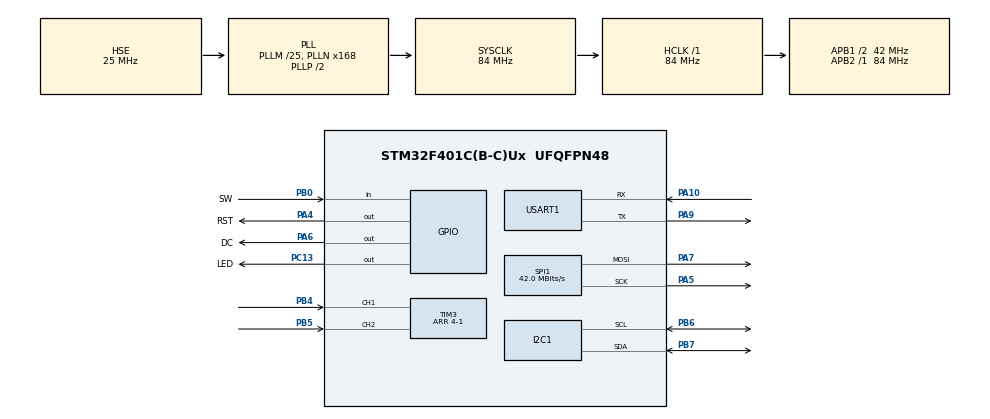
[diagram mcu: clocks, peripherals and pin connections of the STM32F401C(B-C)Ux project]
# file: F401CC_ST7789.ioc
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Mcu.Family=STM32F4
Mcu.Name=STM32F401C(B-C)Ux
Mcu.Package=UFQFPN48
NVIC.PriorityGroup=NVIC_PRIORITYGROUP_4
NVIC.TIM3_IRQn=true\:0\:0\:false\:false\:true\:true\:true\:true
PA10.Mode=Asynchronous
PA10.Signal=USART1_RX
PA4.GPIO_Label=RST
PA4.Signal=GPIO_Output
PA5.Mode=TX_Only_Simplex_Unidirect_Master
PA5.Signal=SPI1_SCK
PA6.GPIO_Label=DC
PA6.Signal=GPIO_Output
PA7.Mode=TX_Only_Simplex_Unidirect_Master
PA7.Signal=SPI1_MOSI
PA9.Mode=Asynchronous
PA9.Signal=USART1_TX
PB0.GPIO_Label=SW
PB0.GPIO_PuPd=GPIO_NOPULL
PB0.Signal=GPIO_Input
PB4.Signal=S_TIM3_CH1
PB5.Signal=S_TIM3_CH2
PB6.Mode=I2C
PB6.Signal=I2C1_SCL
PB7.Mode=I2C
PB7.Signal=I2C1_SDA
PC13-ANTI_TAMP.GPIO_Label=LED
PC13-ANTI_TAMP.PinState=GPIO_PIN_SET
PC13-ANTI_TAMP.Signal=GPIO_Output
PH0\ -\ OSC_IN.Mode=HSE-External-Oscillator
PH0\ -\ OSC_IN.Signal=RCC_OSC_IN
PH1\ -\ OSC_OUT.Mode=HSE-External-Oscillator
PH1\ -\ OSC_OUT.Signal=RCC_OSC_OUT
ProjectManager.HeapSize=0x200
ProjectManager.StackSize=0x400
ProjectManager.TargetToolchain=MDK-ARM V5.32
RCC.48MHZClocksFreq_Value=42000000
RCC.AHBFreq_Value=84000000
RCC.APB1CLKDivider=RCC_HCLK_DIV2
RCC.APB1Freq_Value=42000000
RCC.APB1TimFreq_Value=84000000
RCC.APB2Freq_Value=84000000
RCC.APB2TimFreq_Value=84000000
RCC.CortexFreq_Value=84000000
RCC.HCLKFreq_Value=84000000
RCC.HSE_VALUE=25000000
RCC.HSI_VALUE=16000000
RCC.LSE_VALUE=32768
RCC.PLLM=25
RCC.PLLN=168
RCC.PLLSourceVirtual=RCC_PLLSOURCE_HSE
RCC.SYSCLKFreq_VALUE=84000000
RCC.SYSCLKSource=RCC_SYSCLKSOURCE_PLLCLK
RCC.VCOOutputFreq_Value=168000000
SH.S_TIM3_CH1.0=TIM3_CH1,Encoder_Interface
SH.S_TIM3_CH2.0=TIM3_CH2,Encoder_Interface
SPI1.CLKPhase=SPI_PHASE_2EDGE
SPI1.CLKPolarity=SPI_POLARITY_HIGH
SPI1.CalculateBaudRate=42.0 MBits/s
SPI1.Direction=SPI_DIRECTION_2LINES
SPI1.Mode=SPI_MODE_MASTER
SPI1.VirtualType=VM_MASTER
TIM3.EncoderMode=TIM_ENCODERMODE_TI12
TIM3.IC1Filter=15
TIM3.IC1Polarity=TIM_ICPOLARITY_FALLING
TIM3.IC2Filter=15
TIM3.IC2Polarity=TIM_ICPOLARITY_FALLING
TIM3.Period=4-1
USART1.VirtualMode=VM_ASYNC
board=custom

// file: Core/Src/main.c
/* USER CODE BEGIN Header */
/**
  ******************************************************************************
  * @file           : main.c
  * @brief          : Main program body
  ******************************************************************************
  * @attention
  *
  * Copyright (c) 2023 STMicroelectronics.
  * All rights reserved.
  *
  * This software is licensed under terms that can be found in the LICENSE file
  * in the root directory of this software component.
  * If no LICENSE file comes with this software, it is provided AS-IS.
  *
  ******************************************************************************
  */
/* USER CODE END Header */
#include "main.h"

/* USER CODE BEGIN Includes */

#include "AHT10.h"
#include "OneButton.h"
#include "ST7789.h"
#include "fonts.h"
#include "stdio.h"
//як користуватись SWO?
//UART вивід данних в термінал?
//як промальовувати робочий простір раз в секунду?

#define TIMEOUT_ENCODER 						100
#define TIMEOUT_KEY 								500

#define MENU_COORD_X								20
#define MENU_COORD_Y								20
#define MENU_COORD_OFFSIZE					20

#define MENU_COLOR_FON							(RGB565(0, 0, 0))
#define MENU_COLOR_CURRENT					(RGB565(255, 255, 255))
#define MENU_COLOR_OLD							(RGB565(150, 150, 150))

#define MENU_MAX_DEFAULT_VALUE  		60
#define MENU_MIN_DEFAULT_VALUE  		40
#define MENU_VALUE_SET_MAX  				100
#define MENU_VALUE_SET_MIN  				0

#define MENU_FLOAT_DEFAULT_VALUE  	2.5
#define MENU_FLOAT_SET_MAX_VALUE  	5
#define MENU_FLOAT_SET_MIN_VALUE  	0
#define DEVISION_FLOAT_VAL          0.1

#define TEMPERATURE_POSITION_STR    5

typedef enum{
	MENU_MAX_VALUE,
	MENU_MIN_VALUE,
	MENU_BKL,
	MENU_LANG,
	MENU_FLOAT_VALUE,

	MENU_COUNT
}TypeMenu;

typedef enum{
	MENU_LANG_EN,
	MENU_LANG_DE,
	MENU_LANG_PL,

	MENU_LANG_COUNT
}TypeLang;

typedef enum{
	LIGHT_LOW,
	LIGHT_MID,
	LIGHT_HIGH,

	LIGHT_COUNT
}TypeBackLighting;

uint16_t light_values[LIGHT_COUNT] = {200, 500, 1000};

//////////

typedef enum{
	TYPE_INT,
	TYPE_FLOAT,
	TYPE_STRING
}CurrentTypesValue;

typedef union{
	int32_t current_i;
	float current_f;
}CurrentValueUnion;

typedef struct{
	CurrentValueUnion current_value;
	CurrentValueUnion max_value;
	CurrentValueUnion min_value;
	char* menu_string[MENU_LANG_COUNT];
	CurrentTypesValue current_type;
	char* current_value_str[MENU_LANG_COUNT][10];
}Menu_unit;

Menu_unit CurrentMenu[MENU_COUNT] = {
	[MENU_MAX_VALUE] = {
												.menu_string = {
														[MENU_LANG_EN] = "MAX VALUE EN:",
														[MENU_LANG_DE] = "MAX VALUE DE:",
														[MENU_LANG_PL] = "MAX VALUE PL:"
												},
												.current_type = TYPE_INT,
												.max_value.current_i = MENU_VALUE_SET_MAX,
												.min_value.current_i = MENU_VALUE_SET_MIN,
												.current_value.current_i = MENU_MAX_DEFAULT_VALUE,
												.current_value_str = NULL
											},
	[MENU_MIN_VALUE] = {
												.menu_string = {
														[MENU_LANG_EN] = "MIN VALUE EN:",
														[MENU_LANG_DE] = "MIN VALUE DE:",
														[MENU_LANG_PL] = "MIN VALUE PL:"
												},
												.current_type = TYPE_INT,
												.max_value.current_i = MENU_VALUE_SET_MAX,
												.min_value.current_i = MENU_VALUE_SET_MIN,
												.current_value.current_i = MENU_MIN_DEFAULT_VALUE,
												.current_value_str = NULL
											},
				[MENU_BKL] = {
												.menu_string = {
														[MENU_LANG_EN] = "BKL EN:",
														[MENU_LANG_DE] = "BKL DE:",
														[MENU_LANG_PL] = "BKL PL:"
												},
												.current_type = TYPE_STRING,
												.max_value.current_i = LIGHT_COUNT-1,
												.min_value.current_i = 0,
												.current_value.current_i = LIGHT_MID,
												.current_value_str = {
													[MENU_LANG_EN] = {
																[LIGHT_LOW] = "LOW EN",
																[LIGHT_MID] = "MID EN",
																[LIGHT_HIGH] = "HIGH EN"
													},
													[MENU_LANG_DE] = {
																[LIGHT_LOW] = "LOW DE",
																[LIGHT_MID] = "MID DE",
																[LIGHT_HIGH] = "HIGH DE"
													},
													[MENU_LANG_PL] = {
																[LIGHT_LOW] = "LOW PL",
																[LIGHT_MID] = "MID PL",
																[LIGHT_HIGH] = "HIGH PL"
													}
												}
											},
	[MENU_LANG] = {
												.menu_string = {
														[MENU_LANG_EN] = "LANG EN:",
														[MENU_LANG_DE] = "LANG DE:",
														[MENU_LANG_PL] = "LANG PL:"
												},
												.current_type = TYPE_STRING,
												.max_value.current_i = MENU_LANG_COUNT-1,
												.min_value.current_i = 0,
												.current_value.current_i = MENU_LANG_EN,
												.current_value_str = {
												[MENU_LANG_EN] = {
															[MENU_LANG_EN] = "LANG_EN EN",
															[MENU_LANG_DE] = "LANG_EN DE",
															[MENU_LANG_PL] = "LANG_EN PL"
												},
												[MENU_LANG_DE] = {
															[MENU_LANG_EN] = "LANG_DE EN",
															[MENU_LANG_DE] = "LANG_DE DE",
															[MENU_LANG_PL] = "LANG_DE PL"
												},
												[MENU_LANG_PL] = {
															[MENU_LANG_EN] = "LANG_PL EN",
															[MENU_LANG_DE] = "LANG_PL DE",
															[MENU_LANG_PL] = "LANG_PL PL"
												}
											}
										},
		[MENU_FLOAT_VALUE] = {
												.menu_string = {
														[MENU_LANG_EN] = "FLOAT VALUE EN:",
														[MENU_LANG_DE] = "FLOAT VALUE DE:",
														[MENU_LANG_PL] = "FLOAT VALUE PL:"
												},
												.current_type = TYPE_FLOAT,
												.max_value.current_f = MENU_FLOAT_SET_MAX_VALUE,
												.min_value.current_f = MENU_FLOAT_SET_MIN_VALUE,
												.current_value.current_f =  MENU_FLOAT_DEFAULT_VALUE,
												.current_value_str = NULL
											}
};

//при тіку енкодера, промальвує меню
volatile int8_t menu_draw_flag = 1;
//флаг для входження в параметри меню
volatile int8_t flag_enter_menu_value = 0;
int8_t flag_enter_work_space = 0;
//змінна зберігає поточне значення енкодера (для вибирання рядків меню)
volatile int8_t menu_current = MENU_MAX_VALUE;
// 0.0 -> 5.0 = 0.1

///////////////////////////////////////
//Змінні для відображення показників температури та вологості з датчика
volatile float temperature_value = 0;
volatile float humidity_value = 0;

//Для відображення рядка температури в різних мовах
char* temperature_string[MENU_LANG_COUNT] = {
	[MENU_LANG_EN] = "Temperature EN:",
	[MENU_LANG_DE] = "Temperature DE:",
	[MENU_LANG_PL] = "Temperature PL:"};
//////////////////////////////////////

//Для відображення рядка температури в різних мовах
char* humidity_string[MENU_LANG_COUNT] = {
	[MENU_LANG_EN] = "Humidity EN:",
	[MENU_LANG_DE] = "Humidity DE:",
	[MENU_LANG_PL] = "Humidity PL:"};

//функції для обробки кнопки SW
///////////////////////////////////////
//функція для входу в налаштування параметрів меню//
// функция вызываеться при кратковременном нажатии на кнопку ( одиночный клик )
void attachClick_1(void){
	flag_enter_menu_value = !flag_enter_menu_value; //робить інверсію (постійно міняє значення)
	//AHT10_Initialization();
	//AHT10_SoftReset();
}

//функція для входу в робоче вікно//
// функция вызываеться при старте зажатия и удержания кнопки ( длинное зажатие )
void attachLongPressStart_1(void){
	//printf("%s \r\n", ">>LongPressStart_1");
	HAL_GPIO_TogglePin(LED_GPIO_Port, LED_Pin);
	flag_enter_work_space = !flag_enter_work_space;

	//функції для очищення екрану, ці функції не повинні крутитись в циклі
	void ST7789_Clear(void);
	ST7789_FillScreen( MENU_COLOR_FON );
	menu_draw_flag = 1;
}
///////////////////////////////////////
//об'єкт для обробки кнопки SW
oneButton bt1;

AHT10_SENSOR sensor_one, sensor_two;

/* USER CODE END Includes */

I2C_HandleTypeDef hi2c1;

SPI_HandleTypeDef hspi1;

TIM_HandleTypeDef htim3;

UART_HandleTypeDef huart1;

void SystemClock_Config(void);
static void MX_GPIO_Init(void);
static void MX_SPI1_Init(void);
static void MX_TIM3_Init(void);
static void MX_I2C1_Init(void);
static void MX_USART1_UART_Init(void);

int main(void)
{
  /* USER CODE BEGIN 1 */

	//присвоэння адреси функцій до об'єктів кнопок
	bt1.clickFunc = attachClick_1;
	bt1.longPressStartFunc = attachLongPressStart_1;

  /* USER CODE END 1 */

  /* MCU Configuration--------------------------------------------------------*/

  /* Reset of all peripherals, Initializes the Flash interface and the Systick. */
  HAL_Init();

  /* Configure the system clock */
  SystemClock_Config();

  /* Initialize all configured peripherals */
  MX_GPIO_Init();
  MX_SPI1_Init();
  MX_TIM3_Init();
  MX_I2C1_Init();
  MX_USART1_UART_Init();
  /* USER CODE BEGIN 2 */

//////////////////////////////////////////////////////////////////

	HAL_TIM_Encoder_Start_IT( &htim3, TIM_CHANNEL_ALL );
	HAL_TIM_Base_Start_IT( &htim3 );

	// Процедура инициализации дисплея ST7789
	ST7789_Init();

	// установка ротации дисплея не обязательно так как по умолчанию стоит режим 1 ( всего 4 режима 1,2,3,4 )
	ST7789_rotation( 1 );

	HAL_StatusTypeDef result1;
			for (uint8_t i=1; i<128; i++)
 	{
 	  /*
 	   * the HAL wants a left aligned i2c address
 	   * &hi2c1 is the handle
 	   * (uint16_t)(i<<1) is the i2c address left aligned
 	   * retries 2
 	   * timeout 2
 	   */
 	  result1 = HAL_I2C_IsDeviceReady(&hi2c1, (uint16_t)(i<<1), 2, 100);
 	  if (result1 == HAL_OK)
 	  {
			ii = i;
// 		  printf("Original I2C_1 add: 0x%X	\r\n", i); // Received an ACK at that address
//		  printf("HAL I2C_1 add << 1: 0x%X	\r\n", i<<1); // Received an ACK at that address
 	  }
 	}

	sensor_one.current_I2C = &hi2c1;
	sensor_one.I2C_adress = (0x38 << 1);

	sensor_two.current_I2C = &hi2c1;
	sensor_two.I2C_adress = (0x39 << 1);

	AHT10_SoftReset(&sensor_one);
	HAL_Delay(20);

/////////////////////////////////////////////////////////////////

  /* USER CODE END 2 */

  /* Infinite loop */
  /* USER CODE BEGIN WHILE */
  while (1)
  {
/////////////////////////////////////////////////////////////////
		//перевіряємо кнопку SW
		tickOneButton( &bt1, !HAL_GPIO_ReadPin(SW_GPIO_Port, SW_Pin) );

///////////////////////////////////////////////////////////
		AHT10_GetMeasurment(&sensor_one);
		AHT10_SetMeasurment(&sensor_one);

		temperature_value = AHT10_GetTemperature(&sensor_one);	//get temperature
		humidity_value = AHT10_GetHumidity(&sensor_one); //get humidity

			//Встановлення налаштувань меню
		if(menu_draw_flag && !flag_enter_work_space)
		{
			//HAL_GPIO_TogglePin(LED_GPIO_Port, LED_Pin);
			menu_draw_flag = 0;
			char buff[50] = { 0, };
			for(uint8_t i = 0; i < MENU_COUNT; i++){

				int8_t current_lang = CurrentMenu[MENU_LANG].current_value.current_i;
				int8_t current_value = CurrentMenu[i].current_value.current_i;

				sprintf(buff, "%c %-20s", menu_current == i? '>':' ', CurrentMenu[i].menu_string[current_lang]);
				ST7789_print( MENU_COORD_X, MENU_COORD_Y+(MENU_COORD_OFFSIZE*i), menu_current == i? MENU_COLOR_CURRENT:MENU_COLOR_OLD, MENU_COLOR_FON, 1, &Font_7x9, 1, buff);

				if( CurrentMenu[i].current_type == TYPE_INT ){
					sprintf(buff, "%-15d", CurrentMenu[i].current_value.current_i);
				}
				else if( CurrentMenu[i].current_type == TYPE_FLOAT ){
					sprintf(buff, "%-15.1f", CurrentMenu[i].current_value.current_f);
				}
				else if( CurrentMenu[i].current_type == TYPE_STRING ){
					sprintf(buff, "%-15s", CurrentMenu[i].current_value_str[current_lang][current_value]);
				}
				ST7789_print( 150 + MENU_COORD_X, MENU_COORD_Y+(MENU_COORD_OFFSIZE*i), menu_current == i? MENU_COLOR_CURRENT:MENU_COLOR_OLD, MENU_COLOR_FON, 1, &Font_7x9, 1, buff);
		}
	}

/////////////////Робочий стіл////////////////
	if(flag_enter_work_space)// доробити відображення раз в секунду через таймер
	{
		char buff[50] = { 0, };
		for(uint8_t i = 0; i <= MENU_MIN_VALUE; i++){

			int8_t current_lang = CurrentMenu[MENU_LANG].current_value.current_i;
			int8_t current_value = CurrentMenu[i].current_value.current_i;

			sprintf(buff, "%-20s", CurrentMenu[i].menu_string[current_lang]);
			ST7789_print( MENU_COORD_X, MENU_COORD_Y+(MENU_COORD_OFFSIZE*i), MENU_COLOR_CURRENT, MENU_COLOR_FON, 1, &Font_7x9, 1, buff);

			if( CurrentMenu[i].current_type == TYPE_INT ){
				sprintf(buff, "%-15d", CurrentMenu[i].current_value.current_i);
			}
			else if( CurrentMenu[i].current_type == TYPE_FLOAT ){
				sprintf(buff, "%-15.1f", CurrentMenu[i].current_value.current_f);
			}
			else if( CurrentMenu[i].current_type == TYPE_STRING ){
				sprintf(buff, "%-15s", CurrentMenu[i].current_value_str[current_lang][current_value]);
			}
			ST7789_print( 150 + MENU_COORD_X, MENU_COORD_Y+(MENU_COORD_OFFSIZE*i), MENU_COLOR_CURRENT, MENU_COLOR_FON, 1, &Font_7x9, 1, buff);

			sprintf(buff, "%-20s %-15.1f", temperature_string[current_lang], temperature_value);
			ST7789_print( MENU_COORD_X, MENU_COORD_Y+(MENU_COORD_OFFSIZE * TEMPERATURE_POSITION_STR), MENU_COLOR_CURRENT, MENU_COLOR_FON, 1, &Font_7x9, 1, buff);
			sprintf(buff, "%-20s %-15.1f", humidity_string[current_lang], humidity_value);
			ST7789_print( MENU_COORD_X, MENU_COORD_Y+(MENU_COORD_OFFSIZE * (TEMPERATURE_POSITION_STR+1)), MENU_COLOR_CURRENT, MENU_COLOR_FON, 1, &Font_7x9, 1, buff);
		}
	}

/////////////////////////////////////////////////////////////////

    /* USER CODE END WHILE */

  }
}

void SystemClock_Config(void)
{
  RCC_OscInitTypeDef RCC_OscInitStruct = {0};
  RCC_ClkInitTypeDef RCC_ClkInitStruct = {0};

  /** Configure the main internal regulator output voltage
  */
  __HAL_RCC_PWR_CLK_ENABLE();
  __HAL_PWR_VOLTAGESCALING_CONFIG(PWR_REGULATOR_VOLTAGE_SCALE2);

  /** Initializes the RCC Oscillators according to the specified parameters
  * in the RCC_OscInitTypeDef structure.
  */
  RCC_OscInitStruct.OscillatorType = RCC_OSCILLATORTYPE_HSE;
  RCC_OscInitStruct.HSEState = RCC_HSE_ON;
  RCC_OscInitStruct.PLL.PLLState = RCC_PLL_ON;
  RCC_OscInitStruct.PLL.PLLSource = RCC_PLLSOURCE_HSE;
  RCC_OscInitStruct.PLL.PLLM = 25;
  RCC_OscInitStruct.PLL.PLLN = 168;
  RCC_OscInitStruct.PLL.PLLP = RCC_PLLP_DIV2;
  RCC_OscInitStruct.PLL.PLLQ = 4;
  if (HAL_RCC_OscConfig(&RCC_OscInitStruct) != HAL_OK)
  {
    Error_Handler();
  }

  /** Initializes the CPU, AHB and APB buses clocks
  */
  RCC_ClkInitStruct.ClockType = RCC_CLOCKTYPE_HCLK|RCC_CLOCKTYPE_SYSCLK
                              |RCC_CLOCKTYPE_PCLK1|RCC_CLOCKTYPE_PCLK2;
  RCC_ClkInitStruct.SYSCLKSource = RCC_SYSCLKSOURCE_PLLCLK;
  RCC_ClkInitStruct.AHBCLKDivider = RCC_SYSCLK_DIV1;
  RCC_ClkInitStruct.APB1CLKDivider = RCC_HCLK_DIV2;
  RCC_ClkInitStruct.APB2CLKDivider = RCC_HCLK_DIV1;

  if (HAL_RCC_ClockConfig(&RCC_ClkInitStruct, FLASH_LATENCY_2) != HAL_OK)
  {
    Error_Handler();
  }
}

static void MX_I2C1_Init(void)
{

  hi2c1.Instance = I2C1;
  hi2c1.Init.ClockSpeed = 100000;
  hi2c1.Init.DutyCycle = I2C_DUTYCYCLE_2;
  hi2c1.Init.OwnAddress1 = 0;
  hi2c1.Init.AddressingMode = I2C_ADDRESSINGMODE_7BIT;
  hi2c1.Init.DualAddressMode = I2C_DUALADDRESS_DISABLE;
  hi2c1.Init.OwnAddress2 = 0;
  hi2c1.Init.GeneralCallMode = I2C_GENERALCALL_DISABLE;
  hi2c1.Init.NoStretchMode = I2C_NOSTRETCH_DISABLE;
  if (HAL_I2C_Init(&hi2c1) != HAL_OK)
  {
    Error_Handler();
  }

}

static void MX_SPI1_Init(void)
{

  /* SPI1 parameter configuration*/
  hspi1.Instance = SPI1;
  hspi1.Init.Mode = SPI_MODE_MASTER;
  hspi1.Init.Direction = SPI_DIRECTION_2LINES;
  hspi1.Init.DataSize = SPI_DATASIZE_8BIT;
  hspi1.Init.CLKPolarity = SPI_POLARITY_HIGH;
  hspi1.Init.CLKPhase = SPI_PHASE_2EDGE;
  hspi1.Init.NSS = SPI_NSS_SOFT;
  hspi1.Init.BaudRatePrescaler = SPI_BAUDRATEPRESCALER_2;
  hspi1.Init.FirstBit = SPI_FIRSTBIT_MSB;
  hspi1.Init.TIMode = SPI_TIMODE_DISABLE;
  hspi1.Init.CRCCalculation = SPI_CRCCALCULATION_DISABLE;
  hspi1.Init.CRCPolynomial = 10;
  if (HAL_SPI_Init(&hspi1) != HAL_OK)
  {
    Error_Handler();
  }

}

static void MX_TIM3_Init(void)
{

  TIM_Encoder_InitTypeDef sConfig = {0};
  TIM_MasterConfigTypeDef sMasterConfig = {0};

  htim3.Instance = TIM3;
  htim3.Init.Prescaler = 0;
  htim3.Init.CounterMode = TIM_COUNTERMODE_UP;
  htim3.Init.Period = 4-1;
  htim3.Init.ClockDivision = TIM_CLOCKDIVISION_DIV1;
  htim3.Init.AutoReloadPreload = TIM_AUTORELOAD_PRELOAD_DISABLE;
  sConfig.EncoderMode = TIM_ENCODERMODE_TI12;
  sConfig.IC1Polarity = TIM_ICPOLARITY_FALLING;
  sConfig.IC1Selection = TIM_ICSELECTION_DIRECTTI;
  sConfig.IC1Prescaler = TIM_ICPSC_DIV1;
  sConfig.IC1Filter = 15;
  sConfig.IC2Polarity = TIM_ICPOLARITY_FALLING;
  sConfig.IC2Selection = TIM_ICSELECTION_DIRECTTI;
  sConfig.IC2Prescaler = TIM_ICPSC_DIV1;
  sConfig.IC2Filter = 15;
  if (HAL_TIM_Encoder_Init(&htim3, &sConfig) != HAL_OK)
  {
    Error_Handler();
  }
  sMasterConfig.MasterOutputTrigger = TIM_TRGO_RESET;
  sMasterConfig.MasterSlaveMode = TIM_MASTERSLAVEMODE_DISABLE;
  if (HAL_TIMEx_MasterConfigSynchronization(&htim3, &sMasterConfig) != HAL_OK)
  {
    Error_Handler();
  }

}

static void MX_USART1_UART_Init(void)
{

  huart1.Instance = USART1;
  huart1.Init.BaudRate = 115200;
  huart1.Init.WordLength = UART_WORDLENGTH_8B;
  huart1.Init.StopBits = UART_STOPBITS_1;
  huart1.Init.Parity = UART_PARITY_NONE;
  huart1.Init.Mode = UART_MODE_TX_RX;
  huart1.Init.HwFlowCtl = UART_HWCONTROL_NONE;
  huart1.Init.OverSampling = UART_OVERSAMPLING_16;
  if (HAL_UART_Init(&huart1) != HAL_OK)
  {
    Error_Handler();
  }

}

static void MX_GPIO_Init(void)
{
  GPIO_InitTypeDef GPIO_InitStruct = {0};

  /* GPIO Ports Clock Enable */
  __HAL_RCC_GPIOC_CLK_ENABLE();
  __HAL_RCC_GPIOH_CLK_ENABLE();
  __HAL_RCC_GPIOA_CLK_ENABLE();
  __HAL_RCC_GPIOB_CLK_ENABLE();

  /*Configure GPIO pin Output Level */
  HAL_GPIO_WritePin(LED_GPIO_Port, LED_Pin, GPIO_PIN_SET);

  /*Configure GPIO pin Output Level */
  HAL_GPIO_WritePin(GPIOA, RST_Pin|DC_Pin, GPIO_PIN_RESET);

  /*Configure GPIO pin : LED_Pin */
  GPIO_InitStruct.Pin = LED_Pin;
  GPIO_InitStruct.Mode = GPIO_MODE_OUTPUT_PP;
  GPIO_InitStruct.Pull = GPIO_NOPULL;
  GPIO_InitStruct.Speed = GPIO_SPEED_FREQ_LOW;
  HAL_GPIO_Init(LED_GPIO_Port, &GPIO_InitStruct);

  /*Configure GPIO pins : RST_Pin DC_Pin */
  GPIO_InitStruct.Pin = RST_Pin|DC_Pin;
  GPIO_InitStruct.Mode = GPIO_MODE_OUTPUT_PP;
  GPIO_InitStruct.Pull = GPIO_NOPULL;
  GPIO_InitStruct.Speed = GPIO_SPEED_FREQ_LOW;
  HAL_GPIO_Init(GPIOA, &GPIO_InitStruct);

  /*Configure GPIO pin : SW_Pin */
  GPIO_InitStruct.Pin = SW_Pin;
  GPIO_InitStruct.Mode = GPIO_MODE_INPUT;
  GPIO_InitStruct.Pull = GPIO_NOPULL;
  HAL_GPIO_Init(SW_GPIO_Port, &GPIO_InitStruct);

}

/* USER CODE BEGIN 4 */

/////////////////////////////////////////////////////////////////////////////////////////
void HAL_TIM_PeriodElapsedCallback(TIM_HandleTypeDef *htim)
{
	if( htim->Instance == TIM3 ){
		static uint32_t previous_time = 0;

		if( HAL_GetTick() - previous_time > TIMEOUT_ENCODER && !flag_enter_work_space){
			previous_time = HAL_GetTick();

			menu_draw_flag = 1;

			if( TIM3->CR1 & TIM_CR1_DIR ){
				if(!flag_enter_menu_value){	// в меню
					menu_current++;
					if(menu_current > MENU_COUNT -1)
					{
						menu_current = 0;
					}
				}
				else{ // подменю
					//для роботи з типом int або string
					if(CurrentMenu[menu_current].current_type == TYPE_INT ||
						CurrentMenu[menu_current].current_type == TYPE_STRING){
						CurrentMenu[menu_current].current_value.current_i++;
						if( CurrentMenu[menu_current].current_value.current_i > CurrentMenu[menu_current].max_value.current_i ){
							CurrentMenu[menu_current].current_value.current_i = CurrentMenu[menu_current].min_value.current_i;
					}
				}
					//для роботи з типом float
					if(CurrentMenu[menu_current].current_type == TYPE_FLOAT){
						CurrentMenu[menu_current].current_value.current_f += DEVISION_FLOAT_VAL;
						if( CurrentMenu[menu_current].current_value.current_f > CurrentMenu[menu_current].max_value.current_f ){
							CurrentMenu[menu_current].current_value.current_f = CurrentMenu[menu_current].min_value.current_f;
					}
				}
				}

			}
			else
			{
				if(!flag_enter_menu_value){ // в меню
					menu_current--;
					if(menu_current < 0)
					{
						menu_current = MENU_COUNT -1;
					}
				}
				else{ // подменю
					//для роботи з типом int або string
					if(CurrentMenu[menu_current].current_type == TYPE_INT || TYPE_STRING){
						CurrentMenu[menu_current].current_value.current_i--;
						if( CurrentMenu[menu_current].current_value.current_i < CurrentMenu[menu_current].min_value.current_i ){
							CurrentMenu[menu_current].current_value.current_i = CurrentMenu[menu_current].max_value.current_i;
						}
					}
					//для роботи з типом float
					if(CurrentMenu[menu_current].current_type == TYPE_FLOAT){
						CurrentMenu[menu_current].current_value.current_f -= DEVISION_FLOAT_VAL;
						if( CurrentMenu[menu_current].current_value.current_f < CurrentMenu[menu_current].min_value.current_f ){
							CurrentMenu[menu_current].current_value.current_f = CurrentMenu[menu_current].max_value.current_f;
						}
					}
				}
			}
		}
	}
}

/////////////////////////////////////////////////////////////////////////////////////////

/* USER CODE END 4 */

void Error_Handler(void)
{
  __disable_irq();
  while (1)
  {
  }
}
